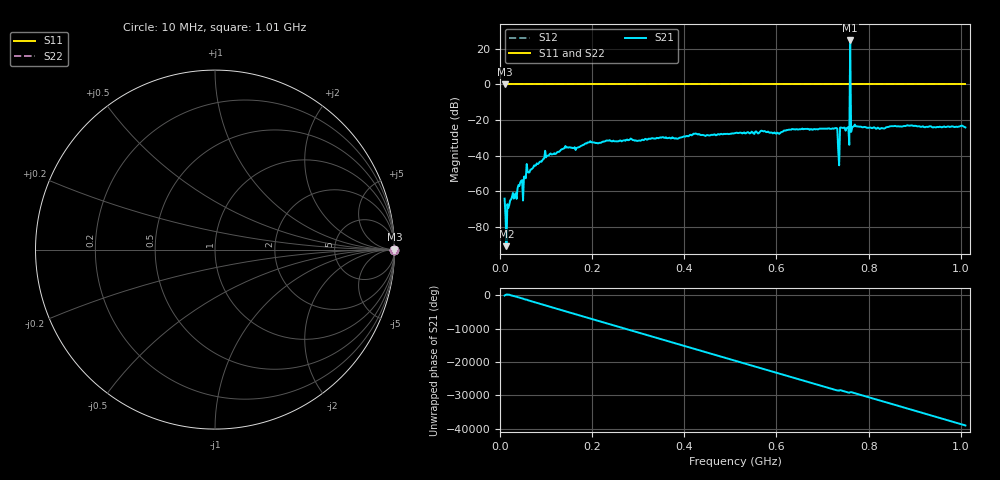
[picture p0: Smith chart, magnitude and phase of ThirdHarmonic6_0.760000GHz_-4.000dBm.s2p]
! 8/16/2025 1:23:46 AM
! C:\ANRITSUVNA\TEMP\TEMP.S2P
! CHANNEL.1
! TR.MEASUREMENT
! RAW.DATA
! RF.CORRECTION.OFF
! AVERAGING.OFF
! IF.BANDWIDTH: 5KHZ
! SWEEPTYPE:  FREQ.SWEEP(Linear)
! Reference Plane Port Info
! PORT:  PORT1  PORT2
! DISTANCE:  0  m  0  m
! TIME:  0  s  0  s
! PHASE.OFFSET:  0  deg.  0  deg.
! LOSS:  0  dB  0  dB
! REF.LOSS:  0  dB  0  dB
! REF.FREQ:  0  Hz  0  Hz
! Power Info
! POWER:  -20  dBm  -20  dBm
! EFF.POWER:  -20  dBm  -20  dBm
! SOURCE.ATTEN:  0  dB  0  dB
! TEST.ATTEN:  0  dB  0  dB
# GHZ S RI R 50.0
! FREQ.GHZ  S11RE  S11IM  S21RE  S21IM  S12RE  S12IM  S22RE  S22IM
!; PortSelection: Port_12
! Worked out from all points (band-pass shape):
!   501 points, 10 MHz to 1.01 GHz, reference 50 ohm
!   highest |S21| = 24.56 dB at 760 MHz (marker M1); lowest = -90.8 dB at 14 MHz (marker M2)
!   |S21| within 3 dB of the highest: 759.8974 MHz to 760.1171 MHz (219.6 kHz wide, 0.0289 % of centre)
!   lowest |S11| = 0.0 dB at 10 MHz (marker M3)
!   |S11| at or under -10 dB: nowhere
!   |S22| runs from 0.0 to 0.0 dB; largest |S21 - S12| = 17
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0.01  1 0  -0.000258 -0.000567  1 0  1 0
0.014  1 0  -2.88e-05 3e-06  1 0  1 0
0.044  1 0  -0.000995 -0.00148  1 0  1 0
0.052  1 0  -0.000648 -0.00249  1 0  1 0
0.056  1 0  -0.000457 0.00227  1 0  1 0
0.062  1 0  -0.00289 -0.00173  1 0  1 0
0.102  1 0  0.00854 0.00489  1 0  1 0
0.178  1 0  -0.0187 -0.00424  1 0  1 0
0.344  1 0  0.0301 -0.0061  1 0  1 0
0.51  1 0  -0.0404 0.0136  1 0  1 0
0.678  1 0  -0.0222 -0.0481  1 0  1 0
0.728  1 0  0.0491 0.0328  1 0  1 0
0.732  1 0  -0.0357 -0.045  1 0  1 0
0.738  1 0  0.0594 -0.0134  1 0  1 0
0.742  1 0  -0.0598 -0.00728  1 0  1 0
0.754  1 0  0.0238 0.0555  1 0  1 0
0.756  1 0  0.0616 -0.0141  1 0  1 0
0.76  1 0  2.996 16.63  1 0  1 0
0.764  1 0  0.0561 0.0225  1 0  1 0
0.766  1 0  0.0364 -0.0534  1 0  1 0
0.844  1 0  0.0439 0.0471  1 0  1 0
1.01  1 0  -0.0597 -0.0154  1 0  1 0
